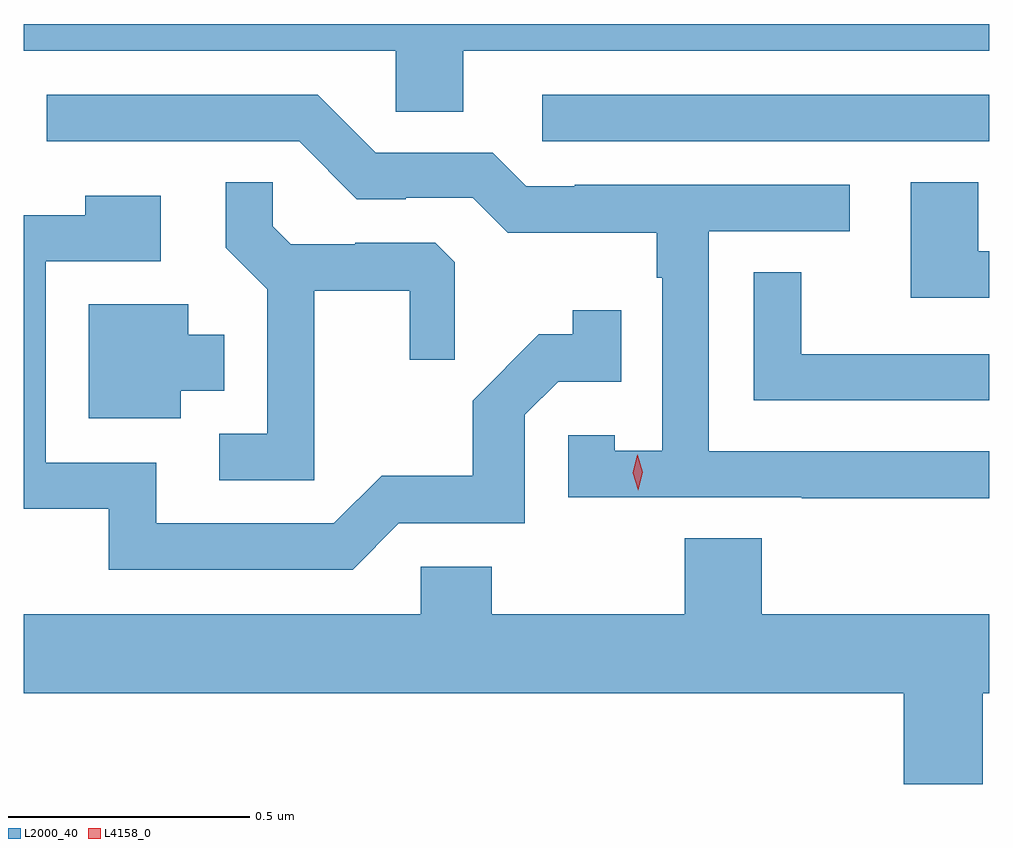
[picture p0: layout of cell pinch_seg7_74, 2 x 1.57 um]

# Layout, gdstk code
import gdstk
lib = gdstk.Library(unit=1e-6, precision=1e-09)
def R(c, l, rs):  # rectangles x0, y0, x1, y1
    for r in rs: c.add(gdstk.rectangle(r[:2], r[2:], *l))
def P(c, l, *ps):  # polygons
    for p in ps: c.add(gdstk.Polygon(p, *l))
L2000_40 = (2000, 40)
L4158_0 = (4158, 0)

pinch_seg7_74 = lib.new_cell('pinch_seg7_74')
R(pinch_seg7_74, L2000_40, [(955.467,1079.016,956.393,1079.112)])
P(pinch_seg7_74, L2000_40, [(955.303,1079.204),(956.393,1079.204),(956.393,1079.259),(954.393,1079.259),(954.393,1079.204),(955.164,1079.204),(955.164,1079.077),(955.303,1079.077)],
  [(956.393,1078.374),(955.812,1078.374),(955.812,1078.83),(956.104,1078.83),(956.104,1078.926),(955.534,1078.926),(955.534,1078.923),(955.434,1078.923),(955.365,1078.992),(955.122,1078.992),(955.002,1079.112),(954.44,1079.112),(954.44,1079.016),(954.963,1079.016),(955.083,1078.896),(955.184,1078.896),(955.184,1078.899),(955.323,1078.899),(955.396,1078.826),(955.704,1078.826),(955.704,1078.733),(955.716,1078.733),(955.716,1078.375),(955.617,1078.375),(955.617,1078.407),(955.521,1078.407),(955.521,1078.278),(956.005,1078.278),(956.005,1078.276),(956.393,1078.276)],
  [(954.995,1078.706),(955.192,1078.706),(955.192,1078.563),(955.286,1078.563),(955.286,1078.765),(955.245,1078.806),(955.08,1078.806),(955.08,1078.803),(954.946,1078.803),(954.909,1078.84),(954.909,1078.931),(954.811,1078.931),(954.811,1078.795),(954.897,1078.709),(954.897,1078.41),(954.798,1078.41),(954.798,1078.314),(954.995,1078.314)],
  [(956.393,1078.788),(956.371,1078.788),(956.371,1078.931),(956.231,1078.931),(956.231,1078.692),(956.393,1078.692)],
  [(955.17,1078.224),(955.431,1078.224),(955.431,1078.449),(955.5,1078.518),(955.631,1078.518),(955.631,1078.666),(955.53,1078.666),(955.53,1078.616),(955.46,1078.616),(955.323,1078.478),(955.323,1078.323),(955.134,1078.323),(955.035,1078.224),(954.667,1078.224),(954.667,1078.35),(954.438,1078.35),(954.438,1078.767),(954.676,1078.767),(954.676,1078.903),(954.52,1078.903),(954.52,1078.863),(954.393,1078.863),(954.393,1078.254),(954.569,1078.254),(954.569,1078.128),(955.074,1078.128)],
  [(956.393,1078.575),(956.004,1078.575),(956.004,1078.745),(955.905,1078.745),(955.905,1078.479),(956.393,1078.479)],
  [(954.718,1078.499),(954.808,1078.499),(954.808,1078.615),(954.733,1078.615),(954.733,1078.678),(954.527,1078.678),(954.527,1078.442),(954.718,1078.442)],
  [(955.762,1078.193),(955.762,1078.036),(955.362,1078.036),(955.362,1078.134),(955.215,1078.134),(955.215,1078.036),(954.393,1078.036),(954.393,1077.872),(956.216,1077.872),(956.216,1077.684),(956.38,1077.684),(956.38,1077.872),(956.393,1077.872),(956.393,1078.036),(955.922,1078.036),(955.922,1078.193)])
P(pinch_seg7_74, L4158_0, [(955.666,1078.293),(955.666,1078.293),(955.655,1078.329),(955.664,1078.365),(955.665,1078.366),(955.665,1078.365),(955.675,1078.33),(955.666,1078.293)])

lib.write_gds('pinch_seg7_74.gds')
